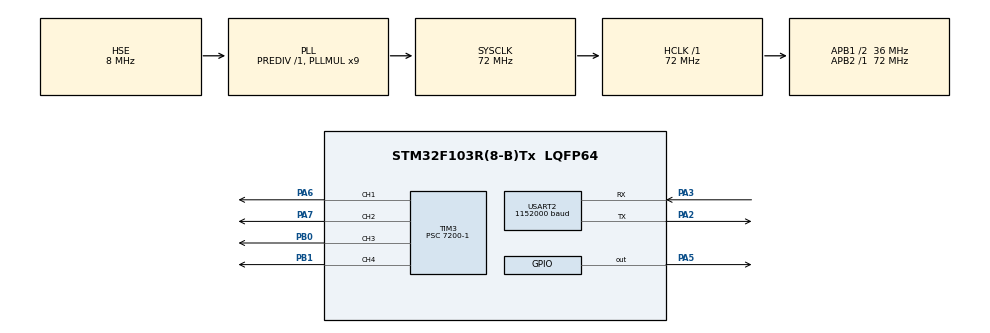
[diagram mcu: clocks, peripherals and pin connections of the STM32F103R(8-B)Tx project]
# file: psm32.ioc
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Mcu.Family=STM32F1
Mcu.Name=STM32F103R(8-B)Tx
Mcu.Package=LQFP64
NVIC.PriorityGroup=NVIC_PRIORITYGROUP_4
NVIC.TIM3_IRQn=true\:0\:0\:false\:false\:true\:true\:true\:true
NVIC.USART2_IRQn=true\:0\:0\:false\:false\:true\:true\:true\:true
PA2.Mode=Asynchronous
PA2.Signal=USART2_TX
PA3.Mode=Asynchronous
PA3.Signal=USART2_RX
PA5.Signal=GPIO_Output
PA6.Signal=S_TIM3_CH1
PA7.Signal=S_TIM3_CH2
PB0.Signal=S_TIM3_CH3
PB1.Signal=S_TIM3_CH4
PD0-OSC_IN.Mode=HSE-External-Clock-Source
PD0-OSC_IN.Signal=RCC_OSC_IN
PD1-OSC_OUT.Mode=HSE-External-Clock-Source
PD1-OSC_OUT.Signal=RCC_OSC_OUT
ProjectManager.HeapSize=0x200
ProjectManager.StackSize=0x400
ProjectManager.TargetToolchain=STM32CubeIDE
RCC.AHBFreq_Value=72000000
RCC.APB1CLKDivider=RCC_HCLK_DIV2
RCC.APB1Freq_Value=36000000
RCC.APB1TimFreq_Value=72000000
RCC.APB2Freq_Value=72000000
RCC.APB2TimFreq_Value=72000000
RCC.HCLKFreq_Value=72000000
RCC.PLLMUL=RCC_PLL_MUL9
RCC.PLLSourceVirtual=RCC_PLLSOURCE_HSE
RCC.SYSCLKFreq_VALUE=72000000
RCC.SYSCLKSource=RCC_SYSCLKSOURCE_PLLCLK
RCC.USBFreq_Value=72000000
SH.S_TIM3_CH1.0=TIM3_CH1,Output Compare1 CH1
SH.S_TIM3_CH2.0=TIM3_CH2,Output Compare2 CH2
SH.S_TIM3_CH3.0=TIM3_CH3,Output Compare3 CH3
SH.S_TIM3_CH4.0=TIM3_CH4,Output Compare4 CH4
TIM3.Channel-Output\ Compare1\ CH1=TIM_CHANNEL_1
TIM3.Channel-Output\ Compare2\ CH2=TIM_CHANNEL_2
TIM3.Channel-Output\ Compare3\ CH3=TIM_CHANNEL_3
TIM3.Channel-Output\ Compare4\ CH4=TIM_CHANNEL_4
TIM3.OCMode_1=TIM_OCMODE_TOGGLE
TIM3.OCMode_2=TIM_OCMODE_TOGGLE
TIM3.OCMode_3=TIM_OCMODE_TOGGLE
TIM3.OCMode_4=TIM_OCMODE_TOGGLE
TIM3.Prescaler=7200-1
TIM3.Pulse-Output\ Compare1\ CH1=10000-1
TIM3.Pulse-Output\ Compare2\ CH2=5000-1
TIM3.Pulse-Output\ Compare3\ CH3=2500-1
TIM3.Pulse-Output\ Compare4\ CH4=1250-1
USART2.BaudRate=1152000
USART2.VirtualMode=VM_ASYNC
VP_TIM3_VS_ClockSourceINT.Mode=Internal
board=custom

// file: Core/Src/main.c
/* USER CODE BEGIN Header */
/**
  ******************************************************************************
  * @file           : main.c
  * @brief          : Main program body
  ******************************************************************************
  * @attention
  *
  * Copyright (c) 2022 STMicroelectronics.
  * All rights reserved.
  *
  * This software is licensed under terms that can be found in the LICENSE file
  * in the root directory of this software component.
  * If no LICENSE file comes with this software, it is provided AS-IS.
  *
  ******************************************************************************
  */
/* USER CODE END Header */
#include "main.h"

/* USER CODE BEGIN Includes */
#include <stdbool.h>
/* USER CODE END Includes */

TIM_HandleTypeDef htim3;

UART_HandleTypeDef huart2;

void SystemClock_Config(void);
static void MX_GPIO_Init(void);
static void MX_TIM3_Init(void);
static void MX_USART2_UART_Init(void);

/* USER CODE BEGIN 0 */
#if 0
void HAL_TIM_OC_DelayElapsedCallback(TIM_HandleTypeDef *htim)
{
	uint32_t pulse;
	if (htim->Instance == TIM3 && htim->Channel == HAL_TIM_ACTIVE_CHANNEL_1) {
		pulse = htim->Instance->CCR1;
		htim->Instance->CCR1 = pulse + 10000-1; //1Hz/2 -> 0.5Hz (2sec)
	}
	if (htim->Instance == TIM3 && htim->Channel == HAL_TIM_ACTIVE_CHANNEL_2) {
		pulse = htim->Instance->CCR2;
		htim->Instance->CCR2 = pulse + 5000-1; //2Hz/2 -> 1Hz (1sec)
	}
	if (htim->Instance == TIM3 && htim->Channel == HAL_TIM_ACTIVE_CHANNEL_3) {
		pulse = htim->Instance->CCR3;
		htim->Instance->CCR3 = pulse + 2500-1; //4Hz/2 -> 2Hz (0.5sec)
	}
	if (htim->Instance == TIM3 && htim->Channel == HAL_TIM_ACTIVE_CHANNEL_4) {
		pulse = htim->Instance->CCR4;
		htim->Instance->CCR4 = pulse + 1250-1; //8Hz/2 -> 4Hz (0.25sec)
	}
}
#endif
#define DATA_SIZE 2*1024

uint8_t data[DATA_SIZE];
uint32_t recv_count = 0;
uint32_t no_recv_count = 0;
bool rx_cplt = false;

void HAL_UART_RxCpltCallback(UART_HandleTypeDef *huart)
{
	if(huart->Instance == USART2){
		rx_cplt = true;
	}
}

void sendReq()
{
	uint8_t cmd[] = {0x00, 0x01, 0x02};
	HAL_UART_Receive_IT(&huart2, data, DATA_SIZE);
	HAL_UART_Transmit(&huart2, cmd, sizeof(cmd), HAL_MAX_DELAY);
}

void dataProc()
{
	if (rx_cplt){
		rx_cplt = false;
		no_recv_count = 0;

		if(data[0] == 0x00 && data[DATA_SIZE-1] == 0xFF){
			recv_count++;
			HAL_GPIO_TogglePin(GPIOA, GPIO_PIN_5);
		}
		else{
			//TODO
		}
		sendReq();
	}
	else{
		no_recv_count++;
		if(no_recv_count > 10000){
			no_recv_count = 0;

			HAL_UART_AbortReceive_IT(&huart2);
			HAL_UART_AbortTransmit(&huart2);
			sendReq();
		}
	}
}

/* USER CODE END 0 */

int main(void)
{

  /* MCU Configuration--------------------------------------------------------*/

  /* Reset of all peripherals, Initializes the Flash interface and the Systick. */
  HAL_Init();

  /* Configure the system clock */
  SystemClock_Config();

  /* Initialize all configured peripherals */
  MX_GPIO_Init();
  MX_TIM3_Init();
  MX_USART2_UART_Init();
  /* USER CODE BEGIN 2 */
  //HAL_TIM_OC_Start_IT(&htim3, TIM_CHANNEL_1);
  //HAL_TIM_OC_Start_IT(&htim3, TIM_CHANNEL_2);
  //HAL_TIM_OC_Start_IT(&htim3, TIM_CHANNEL_3);
  //HAL_TIM_OC_Start_IT(&htim3, TIM_CHANNEL_4);
  sendReq();
  /* USER CODE END 2 */

  /* Infinite loop */
  /* USER CODE BEGIN WHILE */
  while (1)
  {
	  dataProc();
    /* USER CODE END WHILE */

  }
}

void SystemClock_Config(void)
{
  RCC_OscInitTypeDef RCC_OscInitStruct = {0};
  RCC_ClkInitTypeDef RCC_ClkInitStruct = {0};

  /** Initializes the RCC Oscillators according to the specified parameters
  * in the RCC_OscInitTypeDef structure.
  */
  RCC_OscInitStruct.OscillatorType = RCC_OSCILLATORTYPE_HSE;
  RCC_OscInitStruct.HSEState = RCC_HSE_BYPASS;
  RCC_OscInitStruct.HSEPredivValue = RCC_HSE_PREDIV_DIV1;
  RCC_OscInitStruct.HSIState = RCC_HSI_ON;
  RCC_OscInitStruct.PLL.PLLState = RCC_PLL_ON;
  RCC_OscInitStruct.PLL.PLLSource = RCC_PLLSOURCE_HSE;
  RCC_OscInitStruct.PLL.PLLMUL = RCC_PLL_MUL9;
  if (HAL_RCC_OscConfig(&RCC_OscInitStruct) != HAL_OK)
  {
    Error_Handler();
  }

  /** Initializes the CPU, AHB and APB buses clocks
  */
  RCC_ClkInitStruct.ClockType = RCC_CLOCKTYPE_HCLK|RCC_CLOCKTYPE_SYSCLK
                              |RCC_CLOCKTYPE_PCLK1|RCC_CLOCKTYPE_PCLK2;
  RCC_ClkInitStruct.SYSCLKSource = RCC_SYSCLKSOURCE_PLLCLK;
  RCC_ClkInitStruct.AHBCLKDivider = RCC_SYSCLK_DIV1;
  RCC_ClkInitStruct.APB1CLKDivider = RCC_HCLK_DIV2;
  RCC_ClkInitStruct.APB2CLKDivider = RCC_HCLK_DIV1;

  if (HAL_RCC_ClockConfig(&RCC_ClkInitStruct, FLASH_LATENCY_2) != HAL_OK)
  {
    Error_Handler();
  }
}

static void MX_TIM3_Init(void)
{

  TIM_ClockConfigTypeDef sClockSourceConfig = {0};
  TIM_MasterConfigTypeDef sMasterConfig = {0};
  TIM_OC_InitTypeDef sConfigOC = {0};

  htim3.Instance = TIM3;
  htim3.Init.Prescaler = 7200-1;
  htim3.Init.CounterMode = TIM_COUNTERMODE_UP;
  htim3.Init.Period = 65535;
  htim3.Init.ClockDivision = TIM_CLOCKDIVISION_DIV1;
  htim3.Init.AutoReloadPreload = TIM_AUTORELOAD_PRELOAD_DISABLE;
  if (HAL_TIM_Base_Init(&htim3) != HAL_OK)
  {
    Error_Handler();
  }
  sClockSourceConfig.ClockSource = TIM_CLOCKSOURCE_INTERNAL;
  if (HAL_TIM_ConfigClockSource(&htim3, &sClockSourceConfig) != HAL_OK)
  {
    Error_Handler();
  }
  if (HAL_TIM_OC_Init(&htim3) != HAL_OK)
  {
    Error_Handler();
  }
  sMasterConfig.MasterOutputTrigger = TIM_TRGO_RESET;
  sMasterConfig.MasterSlaveMode = TIM_MASTERSLAVEMODE_DISABLE;
  if (HAL_TIMEx_MasterConfigSynchronization(&htim3, &sMasterConfig) != HAL_OK)
  {
    Error_Handler();
  }
  sConfigOC.OCMode = TIM_OCMODE_TOGGLE;
  sConfigOC.Pulse = 10000-1;
  sConfigOC.OCPolarity = TIM_OCPOLARITY_HIGH;
  sConfigOC.OCFastMode = TIM_OCFAST_DISABLE;
  if (HAL_TIM_OC_ConfigChannel(&htim3, &sConfigOC, TIM_CHANNEL_1) != HAL_OK)
  {
    Error_Handler();
  }
  sConfigOC.Pulse = 5000-1;
  if (HAL_TIM_OC_ConfigChannel(&htim3, &sConfigOC, TIM_CHANNEL_2) != HAL_OK)
  {
    Error_Handler();
  }
  sConfigOC.Pulse = 2500-1;
  if (HAL_TIM_OC_ConfigChannel(&htim3, &sConfigOC, TIM_CHANNEL_3) != HAL_OK)
  {
    Error_Handler();
  }
  sConfigOC.Pulse = 1250-1;
  if (HAL_TIM_OC_ConfigChannel(&htim3, &sConfigOC, TIM_CHANNEL_4) != HAL_OK)
  {
    Error_Handler();
  }
  HAL_TIM_MspPostInit(&htim3);

}

static void MX_USART2_UART_Init(void)
{

  huart2.Instance = USART2;
  huart2.Init.BaudRate = 1152000;
  huart2.Init.WordLength = UART_WORDLENGTH_8B;
  huart2.Init.StopBits = UART_STOPBITS_1;
  huart2.Init.Parity = UART_PARITY_NONE;
  huart2.Init.Mode = UART_MODE_TX_RX;
  huart2.Init.HwFlowCtl = UART_HWCONTROL_NONE;
  huart2.Init.OverSampling = UART_OVERSAMPLING_16;
  if (HAL_UART_Init(&huart2) != HAL_OK)
  {
    Error_Handler();
  }

}

static void MX_GPIO_Init(void)
{
  GPIO_InitTypeDef GPIO_InitStruct = {0};

  /* GPIO Ports Clock Enable */
  __HAL_RCC_GPIOD_CLK_ENABLE();
  __HAL_RCC_GPIOA_CLK_ENABLE();
  __HAL_RCC_GPIOB_CLK_ENABLE();

  /*Configure GPIO pin Output Level */
  HAL_GPIO_WritePin(GPIOA, GPIO_PIN_5, GPIO_PIN_RESET);

  /*Configure GPIO pin : PA5 */
  GPIO_InitStruct.Pin = GPIO_PIN_5;
  GPIO_InitStruct.Mode = GPIO_MODE_OUTPUT_PP;
  GPIO_InitStruct.Pull = GPIO_NOPULL;
  GPIO_InitStruct.Speed = GPIO_SPEED_FREQ_LOW;
  HAL_GPIO_Init(GPIOA, &GPIO_InitStruct);

}

void Error_Handler(void)
{
  __disable_irq();
  while (1)
  {
  }
}
